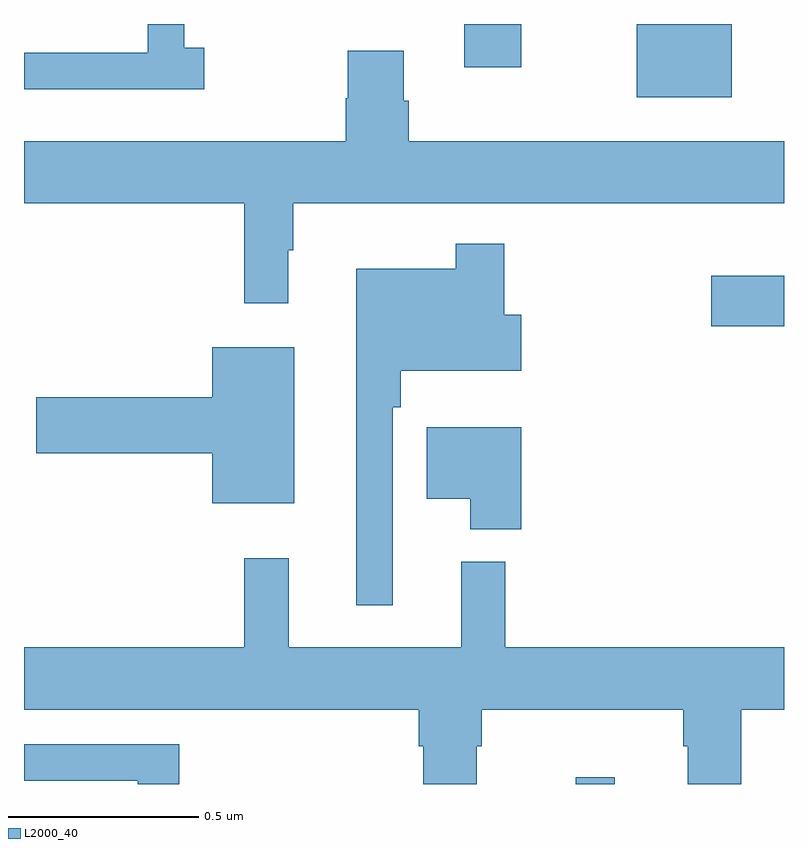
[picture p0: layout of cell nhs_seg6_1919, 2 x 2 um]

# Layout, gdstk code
import gdstk
lib = gdstk.Library(unit=1e-6, precision=1e-09)
def R(c, l, rs):  # rectangles x0, y0, x1, y1
    for r in rs: c.add(gdstk.rectangle(r[:2], r[2:], *l))
def P(c, l, *ps):  # polygons
    for p in ps: c.add(gdstk.Polygon(p, *l))
L2000_40 = (2000, 40)

nhs_seg6_1919 = lib.new_cell('nhs_seg6_1919')
R(nhs_seg6_1919, L2000_40, [(137.452,920.5,137.555,920.518), (137.808,921.704,138,921.838), (137.612,922.307,137.863,922.5), (137.159,922.386,137.308,922.5)])
P(nhs_seg6_1919, L2000_40, [(136.474,922.438),(136.422,922.438),(136.422,922.5),(136.325,922.5),(136.325,922.425),(136,922.425),(136,922.328),(136.474,922.328)],
  [(136.696,921.905),(136.708,921.905),(136.708,922.028),(138,922.028),(138,922.192),(137.012,922.192),(137.012,922.298),(136.999,922.298),(136.999,922.43),(136.852,922.43),(136.852,922.305),(136.847,922.305),(136.847,922.192),(136,922.192),(136,922.028),(136.579,922.028),(136.579,921.765),(136.696,921.765)],
  [(136.971,921.491),(136.991,921.491),(136.991,921.587),(137.308,921.587),(137.308,921.735),(137.264,921.735),(137.264,921.922),(137.136,921.922),(137.136,921.856),(136.874,921.856),(136.874,920.97),(136.971,920.97)],
  [(136.711,921.649),(136.496,921.649),(136.496,921.518),(136.032,921.518),(136.032,921.371),(136.496,921.371),(136.496,921.239),(136.711,921.239)],
  [(137.309,921.439),(137.06,921.439),(137.06,921.251),(137.174,921.251),(137.174,921.17),(137.309,921.17)],
  [(137.15,921.085),(137.15,920.86),(136.697,920.86),(136.697,921.094),(136.579,921.094),(136.579,920.86),(136,920.86),(136,920.696),(137.039,920.696),(137.039,920.6),(137.051,920.6),(137.051,920.5),(137.191,920.5),(137.191,920.6),(137.204,920.6),(137.204,920.696),(137.735,920.696),(137.735,920.6),(137.747,920.6),(137.747,920.5),(137.887,920.5),(137.887,920.696),(138,920.696),(138,920.86),(137.267,920.86),(137.267,921.085)],
  [(136.408,920.604),(136,920.604),(136,920.508),(136.299,920.508),(136.299,920.5),(136.408,920.5)])

lib.write_gds('nhs_seg6_1919.gds')
